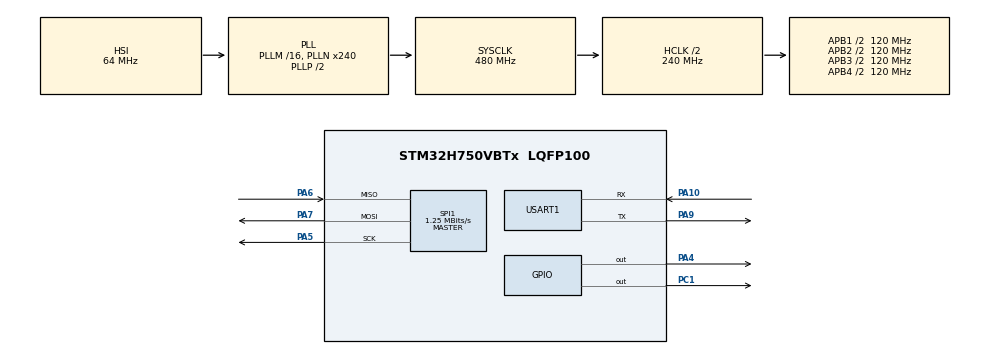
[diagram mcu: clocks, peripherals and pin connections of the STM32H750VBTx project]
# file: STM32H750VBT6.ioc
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Mcu.Family=STM32H7
Mcu.Name=STM32H750VBTx
Mcu.Package=LQFP100
NVIC.PriorityGroup=NVIC_PRIORITYGROUP_4
PA10.Mode=Asynchronous
PA10.Signal=USART1_RX
PA13\ (JTMS/SWDIO).Mode=Serial_Wire
PA13\ (JTMS/SWDIO).Signal=DEBUG_JTMS-SWDIO
PA14\ (JTCK/SWCLK).Mode=Serial_Wire
PA14\ (JTCK/SWCLK).Signal=DEBUG_JTCK-SWCLK
PA4.Signal=GPIO_Output
PA5.Mode=Full_Duplex_Master
PA5.Signal=SPI1_SCK
PA6.Mode=Full_Duplex_Master
PA6.Signal=SPI1_MISO
PA7.Mode=Full_Duplex_Master
PA7.Signal=SPI1_MOSI
PA9.Mode=Asynchronous
PA9.Signal=USART1_TX
PC1.Signal=GPIO_Output
PC14-OSC32_IN\ (OSC32_IN).Mode=LSE-External-Oscillator
PC14-OSC32_IN\ (OSC32_IN).Signal=RCC_OSC32_IN
PC15-OSC32_OUT\ (OSC32_OUT).Mode=LSE-External-Oscillator
PC15-OSC32_OUT\ (OSC32_OUT).Signal=RCC_OSC32_OUT
PH0-OSC_IN\ (PH0).Mode=HSE-External-Oscillator
PH0-OSC_IN\ (PH0).Signal=RCC_OSC_IN
PH1-OSC_OUT\ (PH1).Mode=HSE-External-Oscillator
PH1-OSC_OUT\ (PH1).Signal=RCC_OSC_OUT
ProjectManager.HeapSize=0x200
ProjectManager.StackSize=0x400
ProjectManager.TargetToolchain=MDK-ARM V5.32
RCC.ADCFreq_Value=80000000
RCC.APB1Freq_Value=120000000
RCC.APB2Freq_Value=120000000
RCC.APB3Freq_Value=120000000
RCC.APB4Freq_Value=120000000
RCC.CortexFreq_Value=480000000
RCC.D1PPRE=RCC_APB3_DIV2
RCC.D2PPRE1=RCC_APB1_DIV2
RCC.D2PPRE2=RCC_APB2_DIV2
RCC.D3PPRE=RCC_APB4_DIV2
RCC.DIVM1=16
RCC.DIVN1=240
RCC.DIVN2=80
RCC.HCLKFreq_Value=240000000
RCC.HPRE=RCC_HCLK_DIV2
RCC.HSE_VALUE=12000000
RCC.ProductRev=revV
RCC.SPI123CLockSelection=RCC_SPI123CLKSOURCE_PLL2
RCC.SYSCLKFreq_VALUE=480000000
RCC.SYSCLKSource=RCC_SYSCLKSOURCE_PLLCLK
RCC.USBFreq_Value=480000000
SPI1.BaudRatePrescaler=SPI_BAUDRATEPRESCALER_64
SPI1.CalculateBaudRate=1.25 MBits/s
SPI1.DataSize=SPI_DATASIZE_8BIT
SPI1.Direction=SPI_DIRECTION_2LINES
SPI1.Mode=SPI_MODE_MASTER
SPI1.VirtualType=VM_MASTER
USART1.VirtualMode-Asynchronous=VM_ASYNC
board=custom

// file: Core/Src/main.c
/* USER CODE BEGIN Header */
/**
  ******************************************************************************
  * @file           : main.c
  * @brief          : Main program body
  ******************************************************************************
  * @attention
  *
  * Copyright (c) 2024 STMicroelectronics.
  * All rights reserved.
  *
  * This software is licensed under terms that can be found in the LICENSE file
  * in the root directory of this software component.
  * If no LICENSE file comes with this software, it is provided AS-IS.
  *
  ******************************************************************************
  */
/* USER CODE END Header */
#include "main.h"
#include "spi.h"
#include "usart.h"
#include "gpio.h"

/* USER CODE BEGIN Includes */
#include "uart.h"
#include "icm42688.h"
/* USER CODE END Includes */

/* USER CODE BEGIN PV */
Kalman_t KalmanX = {
        .Q_angle = 0.001f,
        .Q_bias = 0.003f,
        .R_measure = 0.03f
};

Kalman_t KalmanY = {
        .Q_angle = 0.001f,
        .Q_bias = 0.003f,
        .R_measure = 0.03f,
};

EKF_t Kalman_para = {
    .Q_angle = 0.001f,
    .Q_bias = 0.003f,
    .R_measure = 0.03f};
/* USER CODE END PV */

void SystemClock_Config(void);
/* USER CODE BEGIN PFP */
extern float current_yaw;
/* USER CODE END PFP */

int main(void)
{

  /* MCU Configuration--------------------------------------------------------*/

  /* Reset of all peripherals, Initializes the Flash interface and the Systick. */
  HAL_Init();

  /* Configure the system clock */
  SystemClock_Config();

  /* Initialize all configured peripherals */
  MX_GPIO_Init();
  MX_USART1_UART_Init();
  MX_SPI1_Init();
  /* USER CODE BEGIN 2 */
  icm42688_Init();
  EKF_init(&Kalman_para);
  myprintf("Hello World:%d!\n",sizeof(FIFO_Raw_Data));

  // icm42688_data acc, gyro;
  Angle_Data angle;
  // icm42688_data_float angle;
  uint32_t TimeStamp = HAL_GetTick();
  /* USER CODE END 2 */

  /* Infinite loop */
  /* USER CODE BEGIN WHILE */
  while (1)
  {
    // acc = icm42688_getAccel();
    // gyro = icm42688_getGYRO();

    double delta_time = (double)(HAL_GetTick() - TimeStamp) / 1000;
    // angle = Calculate_Angle_ByGyro(gyro, delta_time);
    // angle = Calculate_Angle_ByAcc(acc);
    //angle.Pitch = Kalman_getAngle(&KalmanX, Calculate_Angle_ByAcc(acc).Roll, icm42688_getGYRO_float().x, delta_time);
    angle = EKF_update(&Kalman_para, icm42688_getAcc_float(), icm42688_getGYRO_float(), delta_time);
    TimeStamp = HAL_GetTick();
    // myprintf("Anlge:%d,%d,%d\n", acc.x, acc.y, acc.z);
    // angle = icm42688_getAcc_float();
    // myprintf("Anlge:%f,%f,%f\n", angle.x, angle.y, angle.z);
    myprintf("Anlge:%f,%f,%f\n", angle.Pitch, angle.Roll, angle.Yaw);

    /* USER CODE END WHILE */

    /* USER CODE BEGIN 3 */
	  HAL_GPIO_TogglePin(GPIOC, GPIO_PIN_1);
	  HAL_Delay(5);
  }
  /* USER CODE END 3 */
}

void SystemClock_Config(void)
{
  RCC_OscInitTypeDef RCC_OscInitStruct = {0};
  RCC_ClkInitTypeDef RCC_ClkInitStruct = {0};

  /** Supply configuration update enable
  */
  HAL_PWREx_ConfigSupply(PWR_LDO_SUPPLY);

  /** Configure the main internal regulator output voltage
  */
  __HAL_PWR_VOLTAGESCALING_CONFIG(PWR_REGULATOR_VOLTAGE_SCALE1);

  while(!__HAL_PWR_GET_FLAG(PWR_FLAG_VOSRDY)) {}

  __HAL_RCC_SYSCFG_CLK_ENABLE();
  __HAL_PWR_VOLTAGESCALING_CONFIG(PWR_REGULATOR_VOLTAGE_SCALE0);

  while(!__HAL_PWR_GET_FLAG(PWR_FLAG_VOSRDY)) {}

  /** Initializes the RCC Oscillators according to the specified parameters
  * in the RCC_OscInitTypeDef structure.
  */
  RCC_OscInitStruct.OscillatorType = RCC_OSCILLATORTYPE_HSI;
  RCC_OscInitStruct.HSIState = RCC_HSI_DIV1;
  RCC_OscInitStruct.HSICalibrationValue = RCC_HSICALIBRATION_DEFAULT;
  RCC_OscInitStruct.PLL.PLLState = RCC_PLL_ON;
  RCC_OscInitStruct.PLL.PLLSource = RCC_PLLSOURCE_HSI;
  RCC_OscInitStruct.PLL.PLLM = 16;
  RCC_OscInitStruct.PLL.PLLN = 240;
  RCC_OscInitStruct.PLL.PLLP = 2;
  RCC_OscInitStruct.PLL.PLLQ = 2;
  RCC_OscInitStruct.PLL.PLLR = 2;
  RCC_OscInitStruct.PLL.PLLRGE = RCC_PLL1VCIRANGE_2;
  RCC_OscInitStruct.PLL.PLLVCOSEL = RCC_PLL1VCOWIDE;
  RCC_OscInitStruct.PLL.PLLFRACN = 0;
  if (HAL_RCC_OscConfig(&RCC_OscInitStruct) != HAL_OK)
  {
    Error_Handler();
  }

  /** Initializes the CPU, AHB and APB buses clocks
  */
  RCC_ClkInitStruct.ClockType = RCC_CLOCKTYPE_HCLK|RCC_CLOCKTYPE_SYSCLK
                              |RCC_CLOCKTYPE_PCLK1|RCC_CLOCKTYPE_PCLK2
                              |RCC_CLOCKTYPE_D3PCLK1|RCC_CLOCKTYPE_D1PCLK1;
  RCC_ClkInitStruct.SYSCLKSource = RCC_SYSCLKSOURCE_PLLCLK;
  RCC_ClkInitStruct.SYSCLKDivider = RCC_SYSCLK_DIV1;
  RCC_ClkInitStruct.AHBCLKDivider = RCC_HCLK_DIV2;
  RCC_ClkInitStruct.APB3CLKDivider = RCC_APB3_DIV2;
  RCC_ClkInitStruct.APB1CLKDivider = RCC_APB1_DIV2;
  RCC_ClkInitStruct.APB2CLKDivider = RCC_APB2_DIV2;
  RCC_ClkInitStruct.APB4CLKDivider = RCC_APB4_DIV2;

  if (HAL_RCC_ClockConfig(&RCC_ClkInitStruct, FLASH_LATENCY_4) != HAL_OK)
  {
    Error_Handler();
  }
}

void Error_Handler(void)
{
  __disable_irq();
  while (1)
  {
  }
}
